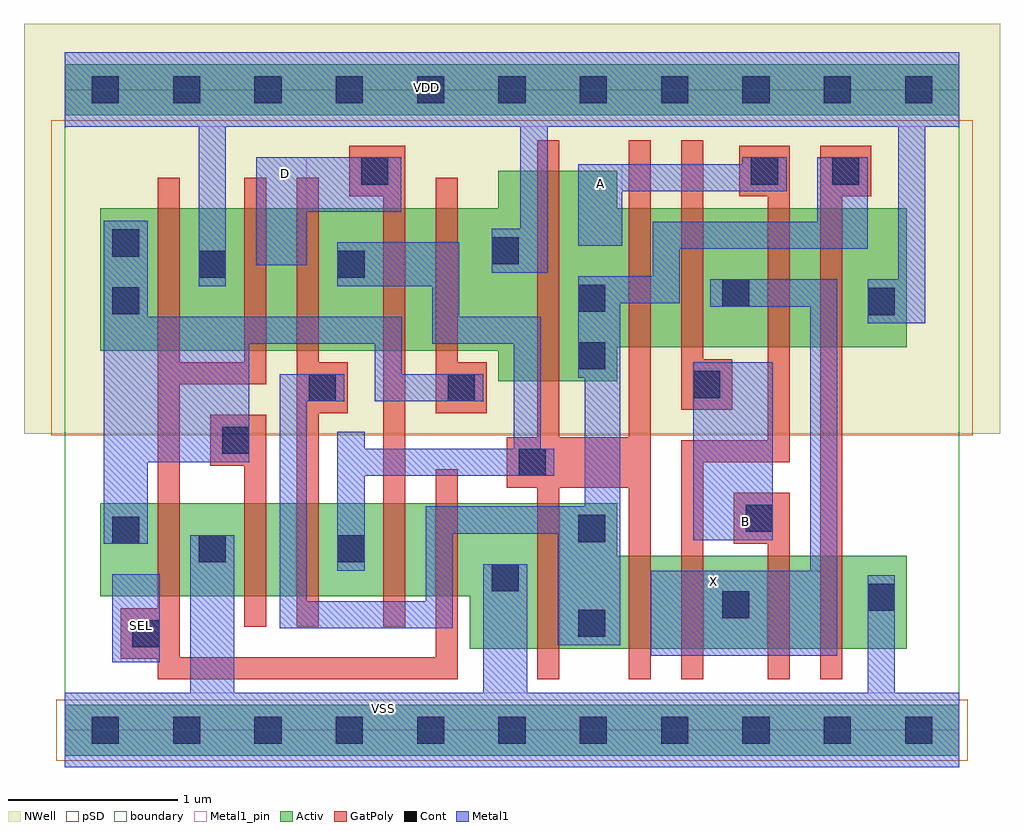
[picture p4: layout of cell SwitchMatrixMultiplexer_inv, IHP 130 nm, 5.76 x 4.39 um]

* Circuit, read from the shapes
.subckt SwitchMatrixMultiplexer_inv A B D SEL VDD VSS X
XM1 VSS SEL n1 VSS sg13_lv_nmos w=0.55u l=0.13u
XM2 n2 n1 VSS VSS sg13_lv_nmos w=0.55u l=0.13u
XM3 n3 n4 n2 VSS sg13_lv_nmos w=0.55u l=0.13u
XM4 n5 D n3 VSS sg13_lv_nmos w=0.55u l=0.13u
XM5 VSS SEL n5 VSS sg13_lv_nmos w=0.55u l=0.13u
XM6 n4 n3 VSS VSS sg13_lv_nmos w=0.86u l=0.13u
XM7 n6 n3 n4 VSS sg13_lv_nmos w=0.55u l=0.13u
XM8 X A n6 VSS sg13_lv_nmos w=0.55u l=0.13u
XM9 n7 B X VSS sg13_lv_nmos w=0.55u l=0.13u
XM10 VSS n4 n7 VSS sg13_lv_nmos w=0.55u l=0.13u
XM11 VDD SEL n1 VDD sg13_lv_pmos w=0.84u l=0.13u
XM12 n8 SEL VDD VDD sg13_lv_pmos w=0.84u l=0.13u
XM13 n3 n4 n8 VDD sg13_lv_pmos w=0.84u l=0.13u
XM14 n9 D n3 VDD sg13_lv_pmos w=0.84u l=0.13u
XM15 VDD n1 n9 VDD sg13_lv_pmos w=0.84u l=0.13u
XM16 n4 n3 VDD VDD sg13_lv_pmos w=1.24u l=0.13u
XM17 n10 n3 n4 VDD sg13_lv_pmos w=0.82u l=0.13u
XM18 X B n10 VDD sg13_lv_pmos w=0.82u l=0.13u
XM19 n11 A X VDD sg13_lv_pmos w=0.82u l=0.13u
XM20 VDD n4 n11 VDD sg13_lv_pmos w=0.82u l=0.13u
.ends

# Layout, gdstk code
import gdstk
lib = gdstk.Library(unit=1e-6, precision=1e-09)
def R(c, l, rs):  # rectangles x0, y0, x1, y1
    for r in rs: c.add(gdstk.rectangle(r[:2], r[2:], *l))
def A(c, l, x, y, w, h, nx, ny, dx, dy):  # array of equal rectangles
    R(c, l, [(x+i*dx, y+j*dy, x+i*dx+w, y+j*dy+h) for i in range(nx) for j in range(ny)])
def P(c, l, *ps):  # polygons
    for p in ps: c.add(gdstk.Polygon(p, *l))
Activ = (1, 0)
GatPoly = (5, 0)
Cont = (6, 0)
Metal1 = (8, 0)
Metal1_pin = (8, 2)
pSD = (14, 0)
NWell = (31, 0)
boundary = (189, 4)

switchmatrixmultiplexer_ = lib.new_cell('SwitchMatrixMultiplexer_inv')
R(switchmatrixmultiplexer_, Activ, [(0,-0.15,5.28,0.15), (0,3.63,5.28,3.93)])
P(switchmatrixmultiplexer_, Activ, [(2.39,0.48),(2.39,0.79),(0.21,0.79),(0.21,1.34),(3.26,1.34),(3.26,1.03),(4.97,1.03),(4.97,0.48)],
  [(2.56,2.06),(2.56,2.24),(0.21,2.24),(0.21,3.08),(2.56,3.08),(2.56,3.3),(3.26,3.3),(3.26,3.08),(4.97,3.08),(4.97,2.26),(3.26,2.26),(3.26,2.06)])
P(switchmatrixmultiplexer_, GatPoly, [(4.15,0.3),(4.15,1.1),(3.95,1.1),(3.95,1.4),(4.28,1.4),(4.28,0.3)],
  [(1.06,0.61),(1.06,1.56),(0.86,1.56),(0.86,1.86),(1.19,1.86),(1.19,0.61)],
  [(0.55,0.3),(0.55,0.42),(0.33,0.42),(0.33,0.72),(0.55,0.72),(0.55,3.26),(0.68,3.26),(0.68,2.17),(1.06,2.17),(1.06,3.26),(1.19,3.26),(1.19,2.04),(0.68,2.04),(0.68,0.43),(2.19,0.43),(2.19,1.54),(2.32,1.54),(2.32,0.3)],
  [(1.37,0.61),(1.37,3.26),(1.5,3.26),(1.5,2.17),(1.67,2.17),(1.67,1.87),(1.5,1.87),(1.5,0.61)],
  [(2.19,1.87),(2.19,3.26),(2.32,3.26),(2.32,2.17),(2.49,2.17),(2.49,1.87)],
  [(1.88,0.61),(1.88,3.15),(1.68,3.15),(1.68,3.45),(2.01,3.45),(2.01,0.61)],
  [(3.64,0.3),(3.64,1.71),(4.15,1.71),(4.15,3.15),(3.98,3.15),(3.98,3.45),(4.28,3.45),(4.28,1.58),(3.77,1.58),(3.77,0.3)],
  [(4.46,0.3),(4.46,3.45),(4.76,3.45),(4.76,3.15),(4.59,3.15),(4.59,0.3)],
  [(2.79,0.3),(2.79,1.43),(2.61,1.43),(2.61,1.73),(2.79,1.73),(2.79,3.48),(2.92,3.48),(2.92,1.73),(3.33,1.73),(3.33,3.48),(3.46,3.48),(3.46,0.3),(3.33,0.3),(3.33,1.43),(2.92,1.43),(2.92,0.3)],
  [(3.64,1.89),(3.64,3.48),(3.77,3.48),(3.77,2.19),(3.94,2.19),(3.94,1.89)])
A(switchmatrixmultiplexer_, Cont, 0.16, -0.08, 0.16, 0.16, 11, 1, 0.48, 0)
A(switchmatrixmultiplexer_, Cont, 0.16, 3.7, 0.16, 0.16, 6, 1, 0.48, 0)
A(switchmatrixmultiplexer_, Cont, 3.04, 3.7, 0.16, 0.16, 5, 1, 0.48, 0)
R(switchmatrixmultiplexer_, Cont, [(4.96,-0.08,5.12,0.08), (0.4,0.49,0.56,0.65), (3.03,0.55,3.19,0.71), (3.88,0.66,4.04,0.82), (4.74,0.705,4.9,0.865), (2.52,0.82,2.68,0.98), (0.79,0.99,0.95,1.15), (1.61,0.99,1.77,1.15), (0.28,1.1,0.44,1.26), (3.03,1.11,3.19,1.27), (4.02,1.17,4.18,1.33), (2.68,1.5,2.84,1.66), (0.93,1.63,1.09,1.79), (1.44,1.94,1.6,2.1), (2.26,1.94,2.42,2.1), (3.71,1.96,3.87,2.12), (3.03,2.13,3.19,2.29), (4.74,2.45,4.9,2.61), (0.28,2.455,0.44,2.615), (3.03,2.47,3.19,2.63), (3.88,2.5,4.04,2.66), (0.79,2.67,0.95,2.83), (1.61,2.67,1.77,2.83), (2.52,2.75,2.68,2.91), (0.28,2.795,0.44,2.955), (1.75,3.22,1.91,3.38), (4.05,3.22,4.21,3.38), (4.53,3.22,4.69,3.38), (2.56,3.7,2.72,3.86), (3.04,3.7,3.2,3.86), (4.96,3.7,5.12,3.86)])
R(switchmatrixmultiplexer_, Metal1, [(0.28,0.4,0.56,0.92), (3.71,1.12,4.18,2.17)])
P(switchmatrixmultiplexer_, Metal1, [(0,-0.22),(0,0.22),(0.74,0.22),(0.74,1.15),(1,1.15),(1,0.22),(2.47,0.22),(2.47,0.98),(2.73,0.98),(2.73,0.22),(4.74,0.22),(4.74,0.915),(4.9,0.915),(4.9,0.22),(5.28,0.22),(5.28,-0.22)],
  [(3.46,0.44),(3.46,0.94),(4.4,0.94),(4.4,2.5),(3.81,2.5),(3.81,2.66),(4.56,2.66),(4.56,0.44)],
  [(1.61,0.94),(1.61,1.76),(1.77,1.76),(1.77,1.66),(2.65,1.66),(2.65,2.28),(2.17,2.28),(2.17,2.62),(1.61,2.62),(1.61,2.88),(2.33,2.88),(2.33,2.44),(2.81,2.44),(2.81,1.66),(2.89,1.66),(2.89,1.5),(1.77,1.5),(1.77,0.94)],
  [(0.23,1.1),(0.23,3.005),(0.49,3.005),(0.49,2.44),(1.99,2.44),(1.99,2.1),(2.47,2.1),(2.47,1.94),(1.83,1.94),(1.83,2.28),(1.09,2.28),(1.09,1.58),(0.49,1.58),(0.49,1.1)],
  [(1.13,2.745),(1.13,3.38),(1.985,3.38),(1.985,3.06),(1.43,3.06),(1.43,2.745)],
  [(3.03,2.86),(3.03,3.34),(4,3.34),(4,3.38),(4.26,3.38),(4.26,3.18),(3.29,3.18),(3.29,2.86)],
  [(2.91,0.5),(2.91,1.16),(2.29,1.16),(2.29,0.6),(1.27,0.6),(1.27,2.1),(1.65,2.1),(1.65,1.94),(1.43,1.94),(1.43,0.76),(2.13,0.76),(2.13,1.32),(3.07,1.32),(3.07,2.08),(3.03,2.08),(3.03,2.68),(3.47,2.68),(3.47,3),(4.44,3),(4.44,3.38),(4.74,3.38),(4.74,2.84),(3.63,2.84),(3.63,2.52),(3.28,2.52),(3.28,0.5)],
  [(4.74,2.4),(4.74,2.66),(4.92,2.66),(4.92,3.56),(2.85,3.56),(2.85,2.7),(2.52,2.7),(2.52,2.96),(2.69,2.96),(2.69,3.56),(0.95,3.56),(0.95,2.62),(0.79,2.62),(0.79,3.56),(0,3.56),(0,4),(5.28,4),(5.28,3.56),(5.08,3.56),(5.08,2.4)])
R(switchmatrixmultiplexer_, Metal1_pin, [(0,-0.22,5.28,0.22), (0.28,0.4,0.56,0.92), (3.46,0.44,4.56,0.94), (3.71,1.12,4.18,2.17), (1.13,2.745,1.43,3.38), (3.03,2.86,3.29,3.34), (0,3.56,5.28,4)])
R(switchmatrixmultiplexer_, pSD, [(-0.05,-0.18,5.33,0.18), (-0.08,1.74,5.36,3.6)])
R(switchmatrixmultiplexer_, NWell, [(-0.24,1.75,5.52,4.17)])
R(switchmatrixmultiplexer_, boundary, [(0,0,5.28,3.78)])
switchmatrixmultiplexer_.add(gdstk.Label('D', (1.305,3.285), layer=8, texttype=25))
switchmatrixmultiplexer_.add(gdstk.Label('A', (3.16,3.225), layer=8, texttype=25))
switchmatrixmultiplexer_.add(gdstk.Label('VDD', (2.135,3.79), layer=8, texttype=25))
switchmatrixmultiplexer_.add(gdstk.Label('B', (4.02,1.23), layer=8, texttype=25))
switchmatrixmultiplexer_.add(gdstk.Label('X', (3.83,0.875), layer=8, texttype=25))
switchmatrixmultiplexer_.add(gdstk.Label('VSS', (1.88,0.13), layer=8, texttype=25))
switchmatrixmultiplexer_.add(gdstk.Label('SEL', (0.455,0.62), layer=8, texttype=25))

lib.write_gds('SwitchMatrixMultiplexer_inv.gds')
